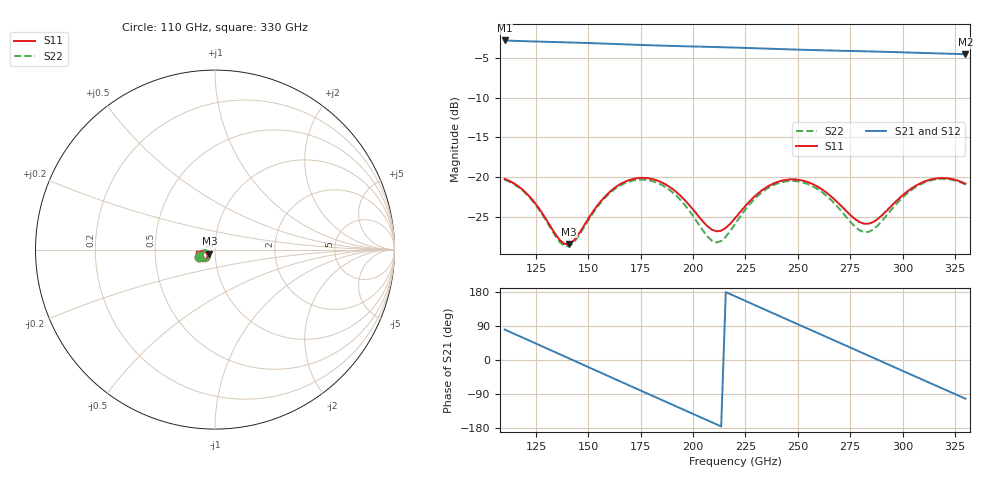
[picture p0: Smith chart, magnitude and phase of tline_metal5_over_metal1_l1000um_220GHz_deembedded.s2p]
! Created with skrf 2.2.0 (http://scikit-rf.org).
# GHz S DB R 50.0
! Port[1] = P1
! Port[2] = P2
!freq dBS11 angS11 dBS21 angS21 dBS12 angS12 dBS22 angS22
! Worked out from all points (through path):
!   101 points, 110 GHz to 330 GHz, reference 50 ohm
!   highest |S21| = -2.79 dB at 110 GHz (marker M1); lowest = -4.5 dB at 330 GHz (marker M2)
!   group delay of S21, straight-line fit = 6.85 ps
!   lowest |S11| = -28.4 dB at 140.8 GHz (marker M3), VSWR 1.08, Z = 47 - j2.08 ohm
!   |S11| at or under -10 dB: start of sweep to end of sweep
!   |S22| runs from -28.7 to -20.2 dB; largest |S21 - S12| = 7.5e-14
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110  -20.22 -153.7  -2.79 80.4  -2.79 80.4  -20.31 -154.5
127.6  -24.38 -174.0  -2.95 36.9  -2.95 36.9  -24.53 -175.4
136.4  -27.93 -161.2  -3.01 15.0  -3.01 15.0  -28.18 -162.5
140.8  -28.41 -144.4  -3.04 4.1  -3.04 4.1  -28.68 -145.2
147.4  -26.32 -125.7  -3.10 -12.3  -3.10 -12.3  -26.51 -126.3
156.2  -22.94 -124.1  -3.18 -34.2  -3.18 -34.2  -23.09 -125.2
167.2  -20.60 -136.8  -3.28 -61.5  -3.28 -61.5  -20.77 -138.5
176  -20.08 -149.9  -3.37 -83.2  -3.37 -83.2  -20.30 -152.0
184.8  -20.62 -162.4  -3.44 -104.9  -3.44 -104.9  -20.94 -165.2
198  -23.46 -173.2  -3.54 -137.4  -3.54 -137.4  -24.16 -177.0
209  -26.61 -159.6  -3.61 -164.5  -3.61 -164.5  -28.00 -160.2
213.4  -26.73 -147.3  -3.64 -175.4  -3.64 -175.4  -28.03 -144.4
220  -25.17 -133.9  -3.69 168.3  -3.69 168.3  -25.91 -129.2
228.8  -22.56 -132.1  -3.76 146.5  -3.76 146.5  -22.88 -128.6
239.8  -20.64 -142.3  -3.86 119.4  -3.86 119.4  -20.84 -140.5
248.6  -20.28 -153.3  -3.94 97.8  -3.94 97.8  -20.48 -152.5
257.4  -20.90 -163.6  -4.00 76.2  -4.00 76.2  -21.18 -163.8
270.6  -23.59 -170.2  -4.09 43.8  -4.09 43.8  -24.22 -171.2
281.6  -25.85 -154.9  -4.16 16.7  -4.16 16.7  -26.92 -152.7
294.8  -23.58 -134.1  -4.25 -15.8  -4.25 -15.8  -24.03 -128.7
312.4  -20.37 -144.4  -4.39 -59.0  -4.39 -59.0  -20.48 -140.9
330  -20.82 -163.7  -4.51 -102.1  -4.51 -102.1  -20.91 -161.5
